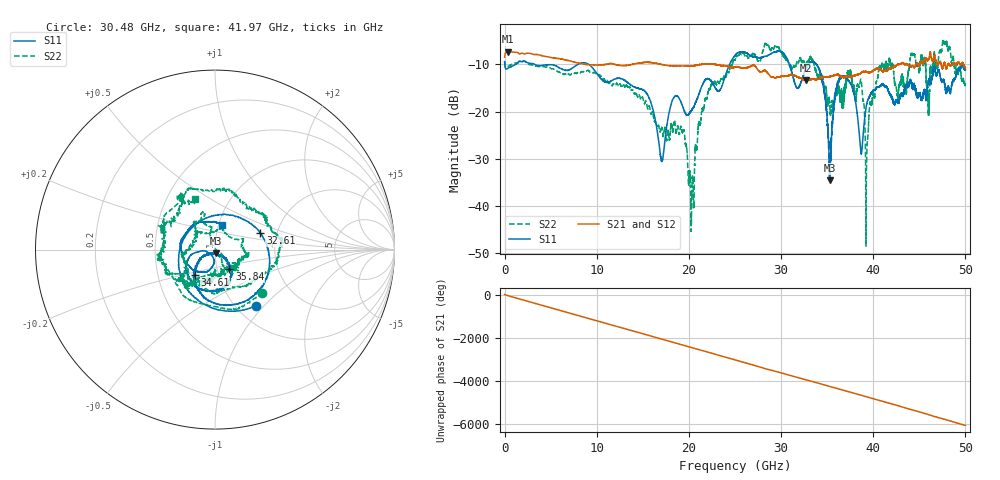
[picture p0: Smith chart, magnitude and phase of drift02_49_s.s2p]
!Created with skrf (http://scikit-rf.org).
# Hz S RI R 50.0
!freq ReS11 ImS11 ReS21 ImS21 ReS12 ImS12 ReS22 ImS22
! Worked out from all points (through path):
!   10001 points, 300 kHz to 50 GHz, reference 50 ohm
!   highest |S21| = -7.32 dB at 340.3 MHz (marker M1); lowest = -13.4 dB at 32.73 GHz (marker M2)
!   group delay of S21, straight-line fit = 335 ps
!   lowest |S11| = -34.5 dB at 35.31 GHz (marker M3), VSWR 1.04, Z = 50.3 - j1.85 ohm
!   |S11| at or under -10 dB: 3.232 GHz to 8.008 GHz (4.776 GHz wide, 85 % of centre); 9.104 GHz to 24.41 GHz (15.31 GHz wide, 91.4 % of centre); 33.83 GHz to end of sweep (the widest 3 of 6)
!   |S22| runs from -48.5 to -5.0 dB; largest |S21 - S12| = 0.013
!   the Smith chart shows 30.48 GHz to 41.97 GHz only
!   S11 on the Smith chart (normalised r, x): 30.48 GHz: 1.22, -0.90; 32.61 GHz: 1.64, +0.32; 34.61 GHz: 0.77, -0.22; 35.84 GHz: 1.14, -0.26; 41.97 GHz: 1.04, +0.30
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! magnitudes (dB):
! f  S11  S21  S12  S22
! 300 kHz  -9.4  -8.5  -8.4  -9.4
! 340.3 MHz  -10.9  -7.3  -7.3  -10.5
! 8.335 GHz  -9.7  -9.9  -9.9  -11.6
! 16.67 GHz  -25.7  -9.9  -9.9  -23.0
! 19.3 GHz  -18.8  -10.4  -10.3  -24.4
! 20.35 GHz  -19.5  -10.3  -10.3  -35.0
! 21.94 GHz  -13.1  -9.9  -9.9  -17.2
! 25 GHz  -8.1  -10.6  -10.6  -9.0
! 30.48 GHz  -8.3  -12.5  -12.5  -8.9
! 32.61 GHz  -11.4  -13.2  -13.3  -10.2
! 32.73 GHz  -10.9  -13.4  -13.5  -9.9
! 33.34 GHz  -9.6  -13.1  -13.2  -9.0
! 34.61 GHz  -14.9  -12.7  -12.7  -13.7
! 35.31 GHz  -34.5  -12.6  -12.5  -19.3
! 35.84 GHz  -17.3  -12.2  -12.3  -16.0
! 37.44 GHz  -13.8  -12.6  -12.6  -12.0
! 38.55 GHz  -26.3  -12.1  -12.0  -14.0
! 39.32 GHz  -18.2  -11.6  -11.6  -27.7
! 41.67 GHz  -15.8  -10.9  -11.0  -9.6
! 41.97 GHz  -16.8  -10.9  -10.9  -10.4
! 47.77 GHz  -14.4  -9.8  -9.7  -5.8
! 50 GHz  -11.2  -10.8  -10.8  -14.4
